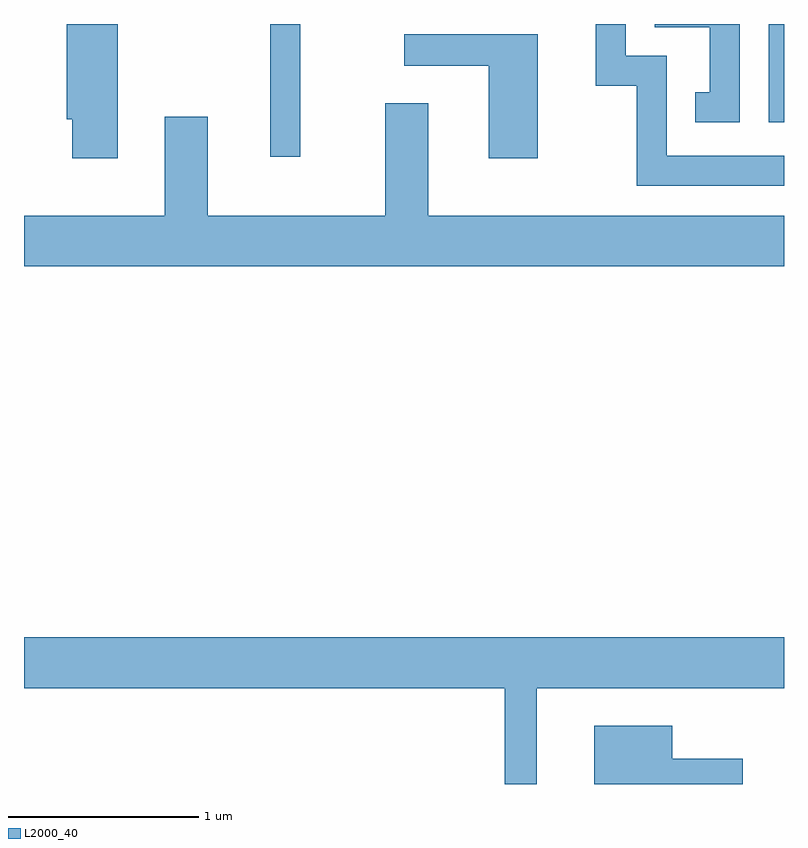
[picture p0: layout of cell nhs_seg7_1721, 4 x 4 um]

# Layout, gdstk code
import gdstk
lib = gdstk.Library(unit=1e-6, precision=1e-09)
def R(c, l, rs):  # rectangles x0, y0, x1, y1
    for r in rs: c.add(gdstk.rectangle(r[:2], r[2:], *l))
def P(c, l, *ps):  # polygons
    for p in ps: c.add(gdstk.Polygon(p, *l))
L2000_40 = (2000, 40)

nhs_seg7_1721 = lib.new_cell('nhs_seg7_1721')
R(nhs_seg7_1721, L2000_40, [(238.906,1721.553,239.064,1722.252), (241.531,1721.736,241.611,1722.252)])
P(nhs_seg7_1721, L2000_40, [(241.379,1722.252),(240.931,1722.252),(240.931,1722.236),(241.221,1722.236),(241.221,1721.894),(241.143,1721.894),(241.143,1721.736),(241.379,1721.736)],
  [(241.611,1721.559),(240.994,1721.559),(240.994,1722.084),(240.779,1722.084),(240.779,1722.252),(240.621,1722.252),(240.621,1721.926),(240.836,1721.926),(240.836,1721.401),(241.611,1721.401)],
  [(238.104,1722.252),(237.836,1722.252),(237.836,1721.751),(237.866,1721.751),(237.866,1721.546),(238.104,1721.546)],
  [(240.314,1722.199),(239.613,1722.199),(239.613,1722.031),(240.056,1722.031),(240.056,1721.546),(240.314,1721.546)],
  [(241.611,1721.244),(239.739,1721.244),(239.739,1721.834),(239.511,1721.834),(239.511,1721.244),(238.579,1721.244),(238.579,1721.764),(238.351,1721.764),(238.351,1721.244),(237.611,1721.244),(237.611,1720.976),(241.611,1720.976)],
  [(240.309,1718.756),(241.611,1718.756),(241.611,1719.024),(237.611,1719.024),(237.611,1718.756),(240.141,1718.756),(240.141,1718.252),(240.309,1718.252)],
  [(241.394,1718.384),(241.024,1718.384),(241.024,1718.559),(240.611,1718.559),(240.611,1718.252),(241.394,1718.252)])

lib.write_gds('nhs_seg7_1721.gds')
